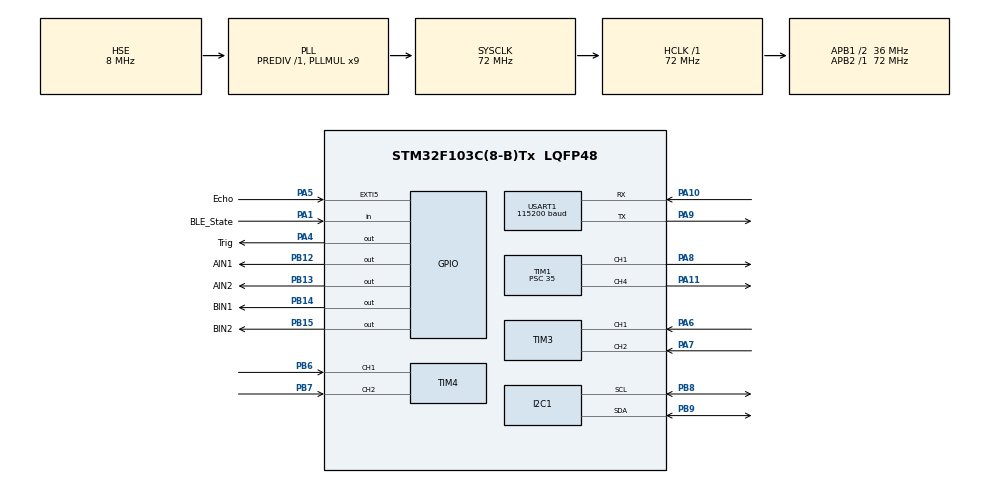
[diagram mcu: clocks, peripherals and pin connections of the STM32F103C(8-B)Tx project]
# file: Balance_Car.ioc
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Dma.I2C1_RX.2.Direction=DMA_PERIPH_TO_MEMORY
Dma.I2C1_RX.2.Instance=DMA1_Channel7
Dma.I2C1_RX.2.MemDataAlignment=DMA_MDATAALIGN_BYTE
Dma.I2C1_RX.2.MemInc=DMA_MINC_ENABLE
Dma.I2C1_RX.2.Mode=DMA_NORMAL
Dma.I2C1_RX.2.PeriphDataAlignment=DMA_PDATAALIGN_BYTE
Dma.I2C1_RX.2.PeriphInc=DMA_PINC_DISABLE
Dma.I2C1_RX.2.Priority=DMA_PRIORITY_MEDIUM
Dma.I2C1_TX.3.Direction=DMA_MEMORY_TO_PERIPH
Dma.I2C1_TX.3.Instance=DMA1_Channel6
Dma.I2C1_TX.3.MemDataAlignment=DMA_MDATAALIGN_BYTE
Dma.I2C1_TX.3.MemInc=DMA_MINC_ENABLE
Dma.I2C1_TX.3.Mode=DMA_NORMAL
Dma.I2C1_TX.3.PeriphDataAlignment=DMA_PDATAALIGN_BYTE
Dma.I2C1_TX.3.PeriphInc=DMA_PINC_DISABLE
Dma.I2C1_TX.3.Priority=DMA_PRIORITY_MEDIUM
Dma.Request0=USART1_RX
Dma.Request1=USART1_TX
Dma.Request2=I2C1_RX
Dma.Request3=I2C1_TX
Dma.USART1_RX.0.Direction=DMA_PERIPH_TO_MEMORY
Dma.USART1_RX.0.Instance=DMA1_Channel5
Dma.USART1_RX.0.MemDataAlignment=DMA_MDATAALIGN_BYTE
Dma.USART1_RX.0.MemInc=DMA_MINC_ENABLE
Dma.USART1_RX.0.Mode=DMA_NORMAL
Dma.USART1_RX.0.PeriphDataAlignment=DMA_PDATAALIGN_BYTE
Dma.USART1_RX.0.PeriphInc=DMA_PINC_DISABLE
Dma.USART1_RX.0.Priority=DMA_PRIORITY_HIGH
Dma.USART1_TX.1.Direction=DMA_MEMORY_TO_PERIPH
Dma.USART1_TX.1.Instance=DMA1_Channel4
Dma.USART1_TX.1.MemDataAlignment=DMA_MDATAALIGN_BYTE
Dma.USART1_TX.1.MemInc=DMA_MINC_ENABLE
Dma.USART1_TX.1.Mode=DMA_NORMAL
Dma.USART1_TX.1.PeriphDataAlignment=DMA_PDATAALIGN_BYTE
Dma.USART1_TX.1.PeriphInc=DMA_PINC_DISABLE
Dma.USART1_TX.1.Priority=DMA_PRIORITY_HIGH
I2C1.I2C_Mode=I2C_Fast
Mcu.Family=STM32F1
Mcu.Name=STM32F103C(8-B)Tx
Mcu.Package=LQFP48
NVIC.DMA1_Channel4_IRQn=true\:6\:0\:true\:false\:true\:false\:true\:true
NVIC.DMA1_Channel5_IRQn=true\:6\:0\:true\:false\:true\:false\:true\:true
NVIC.DMA1_Channel6_IRQn=true\:7\:0\:true\:false\:true\:false\:true\:true
NVIC.DMA1_Channel7_IRQn=true\:7\:0\:true\:false\:true\:false\:true\:true
NVIC.EXTI9_5_IRQn=true\:8\:0\:true\:false\:true\:true\:true\:true
NVIC.I2C1_ER_IRQn=true\:7\:0\:true\:false\:true\:true\:true\:true
NVIC.I2C1_EV_IRQn=true\:7\:0\:true\:false\:true\:true\:true\:true
NVIC.PriorityGroup=NVIC_PRIORITYGROUP_4
NVIC.TIM2_IRQn=true\:15\:0\:false\:false\:true\:false\:true\:true
NVIC.TimeBase=TIM2_IRQn
NVIC.TimeBaseIP=TIM2
NVIC.USART1_IRQn=true\:6\:0\:true\:false\:true\:true\:true\:true
PA0-WKUP.Mode=SYS_WakeUp0
PA0-WKUP.Signal=SYS_WKUP
PA1.GPIO_Label=BLE_State
PA1.Signal=GPIO_Input
PA10.Mode=Asynchronous
PA10.Signal=USART1_RX
PA11.Signal=S_TIM1_CH4
PA13.Mode=Serial_Wire
PA13.Signal=SYS_JTMS-SWDIO
PA14.Mode=Serial_Wire
PA14.Signal=SYS_JTCK-SWCLK
PA4.GPIO_Label=Trig
PA4.GPIO_PuPd=GPIO_PULLDOWN
PA4.Signal=GPIO_Output
PA5.GPIO_Label=Echo
PA5.GPIO_ModeDefaultEXTI=GPIO_MODE_IT_RISING_FALLING
PA5.GPIO_PuPd=GPIO_PULLDOWN
PA5.Signal=GPXTI5
PA6.Signal=S_TIM3_CH1
PA7.Signal=S_TIM3_CH2
PA8.Signal=S_TIM1_CH1
PA9.Mode=Asynchronous
PA9.Signal=USART1_TX
PB12.GPIO_Label=AIN1
PB12.Signal=GPIO_Output
PB13.GPIO_Label=AIN2
PB13.Signal=GPIO_Output
PB14.GPIO_Label=BIN1
PB14.Signal=GPIO_Output
PB15.GPIO_Label=BIN2
PB15.Signal=GPIO_Output
PB6.Signal=S_TIM4_CH1
PB7.Signal=S_TIM4_CH2
PB8.Mode=I2C
PB8.Signal=I2C1_SCL
PB9.Mode=I2C
PB9.Signal=I2C1_SDA
PC14-OSC32_IN.Mode=LSE-External-Oscillator
PC14-OSC32_IN.Signal=RCC_OSC32_IN
PC15-OSC32_OUT.Mode=LSE-External-Oscillator
PC15-OSC32_OUT.Signal=RCC_OSC32_OUT
PD0-OSC_IN.Mode=HSE-External-Oscillator
PD0-OSC_IN.Signal=RCC_OSC_IN
PD1-OSC_OUT.Mode=HSE-External-Oscillator
PD1-OSC_OUT.Signal=RCC_OSC_OUT
ProjectManager.HeapSize=0x200
ProjectManager.StackSize=0x400
ProjectManager.TargetToolchain=CMake
RCC.AHBFreq_Value=72000000
RCC.APB1CLKDivider=RCC_HCLK_DIV2
RCC.APB1Freq_Value=36000000
RCC.APB1TimFreq_Value=72000000
RCC.APB2Freq_Value=72000000
RCC.APB2TimFreq_Value=72000000
RCC.HCLKFreq_Value=72000000
RCC.PLLMUL=RCC_PLL_MUL9
RCC.PLLSourceVirtual=RCC_PLLSOURCE_HSE
RCC.SYSCLKFreq_VALUE=72000000
RCC.SYSCLKSource=RCC_SYSCLKSOURCE_PLLCLK
RCC.USBFreq_Value=72000000
SH.S_TIM1_CH1.0=TIM1_CH1,PWM Generation1 CH1
SH.S_TIM1_CH4.0=TIM1_CH4,PWM Generation4 CH4
SH.S_TIM3_CH1.0=TIM3_CH1,Encoder_Interface
SH.S_TIM3_CH2.0=TIM3_CH2,Encoder_Interface
SH.S_TIM4_CH1.0=TIM4_CH1,Encoder_Interface
SH.S_TIM4_CH2.0=TIM4_CH2,Encoder_Interface
TIM1.AutoReloadPreload=TIM_AUTORELOAD_PRELOAD_ENABLE
TIM1.Channel-PWM\ Generation1\ CH1=TIM_CHANNEL_1
TIM1.Channel-PWM\ Generation4\ CH4=TIM_CHANNEL_4
TIM1.Period=999
TIM1.Prescaler=35
TIM3.IC1Filter=15
TIM4.IC1Filter=15
USART1.BaudRate=115200
USART1.VirtualMode=VM_ASYNC
VP_SYS_VS_tim2.Mode=TIM2
board=custom

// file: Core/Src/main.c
/* USER CODE BEGIN Header */
/**
  ******************************************************************************
  * @file           : main.c
  * @brief          : Main program body
  ******************************************************************************
  * @attention
  *
  * Copyright (c) 2026 STMicroelectronics.
  * All rights reserved.
  *
  * This software is licensed under terms that can be found in the LICENSE file
  * in the root directory of this software component.
  * If no LICENSE file comes with this software, it is provided AS-IS.
  *
  ******************************************************************************
  */
/* USER CODE END Header */
#include "main.h"
#include "dma.h"
#include "i2c.h"
#include "tim.h"
#include "usart.h"
#include "gpio.h"

/* USER CODE BEGIN Includes */
#include "stdio.h"
#include "FreeRTOS.h"
#include "task.h"
#include "OLED.h"
#include "MPU6050.h"
#include <stdint.h>
#include "Ultrasonicwave_Comm.h"
#include "DWT.h"
#include "Ult_Avoid.h"
#include "BLE_Serial.h"
#include "MTask.h"
#include "BLE.h"
#include "Moitor.h"
/* USER CODE END Includes */

void SystemClock_Config(void);

int main(void)
{

  /* MCU Configuration--------------------------------------------------------*/

  /* Reset of all peripherals, Initializes the Flash interface and the Systick. */
  HAL_Init();

  /* Configure the system clock */
  SystemClock_Config();

  /* Initialize all configured peripherals */
  MX_GPIO_Init();
  MX_DMA_Init();
  MX_TIM1_Init();
  MX_USART1_UART_Init();
  MX_TIM3_Init();
  MX_TIM4_Init();
  MX_I2C1_Init();
  /* USER CODE BEGIN 2 */

  EventGroupHandle_t egHandler=NULL;
  // 任务通信模块
  Shared_Init();
  egHandler = Shared_Get_EventGroupHandler();
  // 初始化
  // DWT获取时间戳
  DWT_Init();

  // I2C设备
  I2C_Bus_Init(egHandler);
  OLED_Init();
  MPU6050_Init();

  // BLE模块
  BLE_Init(egHandler);

  // 电机模块
  Moitor_Init();

  // 任务创建  启动调度器
  xTaskCreate(Control_Task, "Control_Task",256, NULL, 10, NULL);
  xTaskCreate(System_Task, "System_Task",256, NULL, 2, NULL);
  vTaskStartScheduler();

  while(1)
  {

  }

  //BLE底层测试
  // uint8_t bytes[64];
  // BLE_Serial_Init(NULL);

  // while(1)
  // {
  //   if(BLE_Serial_isCanRead())
  //   {
  //     BLE_Serial_ReadByte(bytes);
  //     OLED_ShowString(0, 0, bytes, OLED_6X8);
  //     OLED_Update();
  //   }

  //   BLE_Serial_SendBytes("hello world\r\n",sizeof("hello world\r\n"),5);
  //   HAL_Delay(1000);
  // }

  /* USER CODE END 2 */

  /* Infinite loop */
  /* USER CODE BEGIN WHILE */
  // bool isCanSendMPU6050=true;
  bool isAvoid=false;
  while (1)
  {
    isAvoid=false;
    // MPU6050_Data_Struct data;
    // // 等待总线空闲再发起
    // if(isCanSendMPU6050) MPU6050_Request_Data();

    // if(MPU6050_Parse_Data(&data))
    // {
    //   isCanSendMPU6050=true;
    // }
    // else
    //   isCanSendMPU6050=false;

    // uint8_t tempStr[40];
    // snprintf((char*)tempStr, sizeof tempStr, "%d %d", data.Accx, data.AccY);
    // OLED_ClearArea(0,0,128,16);
    // OLED_ShowString(0, 0, (char*)tempStr, OLED_8X16);

    Ult_TrigGetDistance(NULL);
    HAL_Delay(20);  //目前测试用延时，后面会有任务通知
    uint16_t distance = Ult_GetDistance();
    uint16_t filtered_dist = Ult_GetFilteredDistance(distance);
    if(isNeedAvoid(filtered_dist))
      isAvoid=true;
    uint8_t tempStr3[20],tempStr2[20];
    snprintf(tempStr2, sizeof tempStr2, "dis:%d",distance);
    snprintf(tempStr3,sizeof tempStr3, "Is avoid:%s",isAvoid?"need":"not");
    OLED_ClearArea(0,16,128,32);
    OLED_ShowString(0, 16, (char*)tempStr2, OLED_8X16);
    OLED_ShowString(0, 32, (char*)tempStr3, OLED_8X16);

    OLED_Update();
    HAL_Delay(50);
    /* USER CODE END WHILE */

  }
}

void SystemClock_Config(void)
{
  RCC_OscInitTypeDef RCC_OscInitStruct = {0};
  RCC_ClkInitTypeDef RCC_ClkInitStruct = {0};

  /** Initializes the RCC Oscillators according to the specified parameters
  * in the RCC_OscInitTypeDef structure.
  */
  RCC_OscInitStruct.OscillatorType = RCC_OSCILLATORTYPE_HSE;
  RCC_OscInitStruct.HSEState = RCC_HSE_ON;
  RCC_OscInitStruct.HSEPredivValue = RCC_HSE_PREDIV_DIV1;
  RCC_OscInitStruct.HSIState = RCC_HSI_ON;
  RCC_OscInitStruct.PLL.PLLState = RCC_PLL_ON;
  RCC_OscInitStruct.PLL.PLLSource = RCC_PLLSOURCE_HSE;
  RCC_OscInitStruct.PLL.PLLMUL = RCC_PLL_MUL9;
  if (HAL_RCC_OscConfig(&RCC_OscInitStruct) != HAL_OK)
  {
    Error_Handler();
  }

  /** Initializes the CPU, AHB and APB buses clocks
  */
  RCC_ClkInitStruct.ClockType = RCC_CLOCKTYPE_HCLK|RCC_CLOCKTYPE_SYSCLK
                              |RCC_CLOCKTYPE_PCLK1|RCC_CLOCKTYPE_PCLK2;
  RCC_ClkInitStruct.SYSCLKSource = RCC_SYSCLKSOURCE_PLLCLK;
  RCC_ClkInitStruct.AHBCLKDivider = RCC_SYSCLK_DIV1;
  RCC_ClkInitStruct.APB1CLKDivider = RCC_HCLK_DIV2;
  RCC_ClkInitStruct.APB2CLKDivider = RCC_HCLK_DIV1;

  if (HAL_RCC_ClockConfig(&RCC_ClkInitStruct, FLASH_LATENCY_2) != HAL_OK)
  {
    Error_Handler();
  }
}

void HAL_TIM_PeriodElapsedCallback(TIM_HandleTypeDef *htim)
{
  if (htim->Instance == TIM2)
  {
    HAL_IncTick();
  }
}

void Error_Handler(void)
{
  __disable_irq();
  while (1)
  {
  }
}
